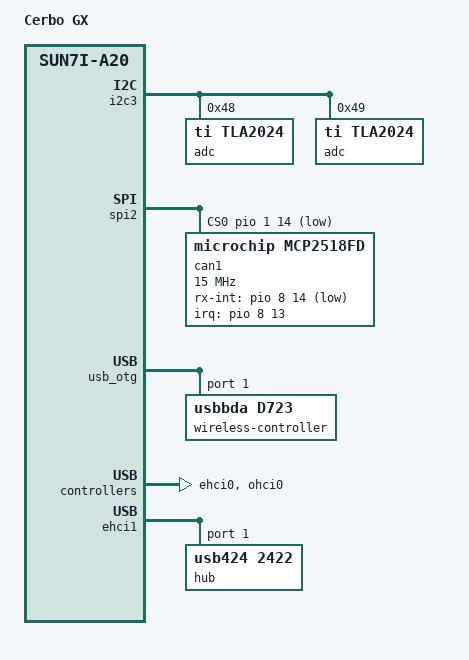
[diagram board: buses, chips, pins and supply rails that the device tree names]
// SPDX-License-Identifier: GPL-2.0 OR X11
/*
 * Copyright (C) 2018 Mans Rullgard <mans@mansr.com>
 */

/dts-v1/;

#include "sun7i-a20-einstein-cerbo-common.dtsi"

/ {
	model = "Cerbo GX";
	compatible = "victronenergy,cerbo-gx-b1",
		     "cubietech,einstein",
		     "allwinner,sun7i-a20";

	can_clk: can-clk {
		compatible = "fixed-clock";
		#clock-cells = <0>;
		clock-frequency = <40000000>;
	};
};

/* USB wifi/BT enable */
&reg_usb0_vbus {
	gpio = <&pio 3 2 GPIO_ACTIVE_HIGH>;		/* PD2 */
};

/* External USB port 3 + display power */
&reg_usb1_vbus {
	gpio = <&pio 3 1 GPIO_ACTIVE_HIGH>;		/* PD1 */
};

/* Internal USB hub VBUS detect */
&reg_usb2_vbus {
	gpio = <&pio 3 0 GPIO_ACTIVE_HIGH>;		/* PD0 */
};

&ext_wdt {
	gpios = <&pio 0 11 GPIO_ACTIVE_HIGH>;		/* PA11 */
};

&mmc3 {
	status = "disabled";
};

&touchscreen {
	vcc-supply = <&reg_usb1_vbus>;
	iovcc-supply = <&reg_usb1_vbus>;
};

&backlight {
	vcc-supply = <&reg_usb1_vbus>;
};

&i2c3 {
	status = "okay";

	adc@48 {
		compatible = "ti,tla2024";
		reg = <0x48>;
		#address-cells = <1>;
		#size-cells = <0>;

		channel@4 {
			reg = <4>;
		};

		channel@5 {
			reg = <5>;
		};

		channel@6 {
			reg = <6>;
		};

		channel@7 {
			reg = <7>;
		};
	};

	adc@49 {
		compatible = "ti,tla2024";
		reg = <0x49>;
		#address-cells = <1>;
		#size-cells = <0>;

		channel@4 {
			reg = <4>;
		};

		channel@5 {
			reg = <5>;
		};

		channel@6 {
			reg = <6>;
		};

		channel@7 {
			reg = <7>;
		};
	};
};

&spi2 {
	pinctrl-names = "default";
	pinctrl-0 = <&spi2_pb_pins>;
	status = "okay";

	assigned-clocks = <&ccu CLK_SPI2>;
	assigned-clock-rates = <600000000>;

	cs-gpios = <&pio 1 14 GPIO_ACTIVE_LOW>;		/* PB14 */

	can1: can@0 {
		compatible = "microchip,mcp2518fd";
		reg = <0>;
		spi-max-frequency = <15000000>;
		clocks = <&can_clk>;
		interrupt-parent = <&pio>;
		interrupts = <8 13 IRQ_TYPE_LEVEL_LOW>;	/* PI13 */
		microchip,rx-int-gpios = <&pio 8 14 GPIO_ACTIVE_LOW>; /* PI14 */
	};
};

&uart2 {
	status = "disabled";
};

&uart3 {
	status = "disabled";
};

&usb_otg {
	wireless-controller@1 {
		compatible = "usbbda,d723";
		reg = <1>;
	};
};

&ehci0 {
	status = "okay";
};

&ohci0 {
	status = "okay";
};

&ehci1 {
	status = "okay";

	#address-cells = <1>;
	#size-cells = <0>;

	hub@1 {
		compatible = "usb424,2422";
		reg = <1>;
	};
};

&pio {
	gpio-line-names =
		"relay_1",
		"relay_2",
		"digital_input_3",
		"digital_input_2",
		"digital_input_1",
		"digital_input_4",
		"mkx_rst",
		"vebus_standby";
	gpio-line-numbers =
		<4>,		/* PA4 */
		<5>,		/* PA5 */
		<224>,		/* PH0 */
		<225>,		/* PH1 */
		<226>,		/* PH2 */
		<227>,		/* PH3 */
		<122>,		/* PD26 */
		<123>;		/* PD27 */
};
